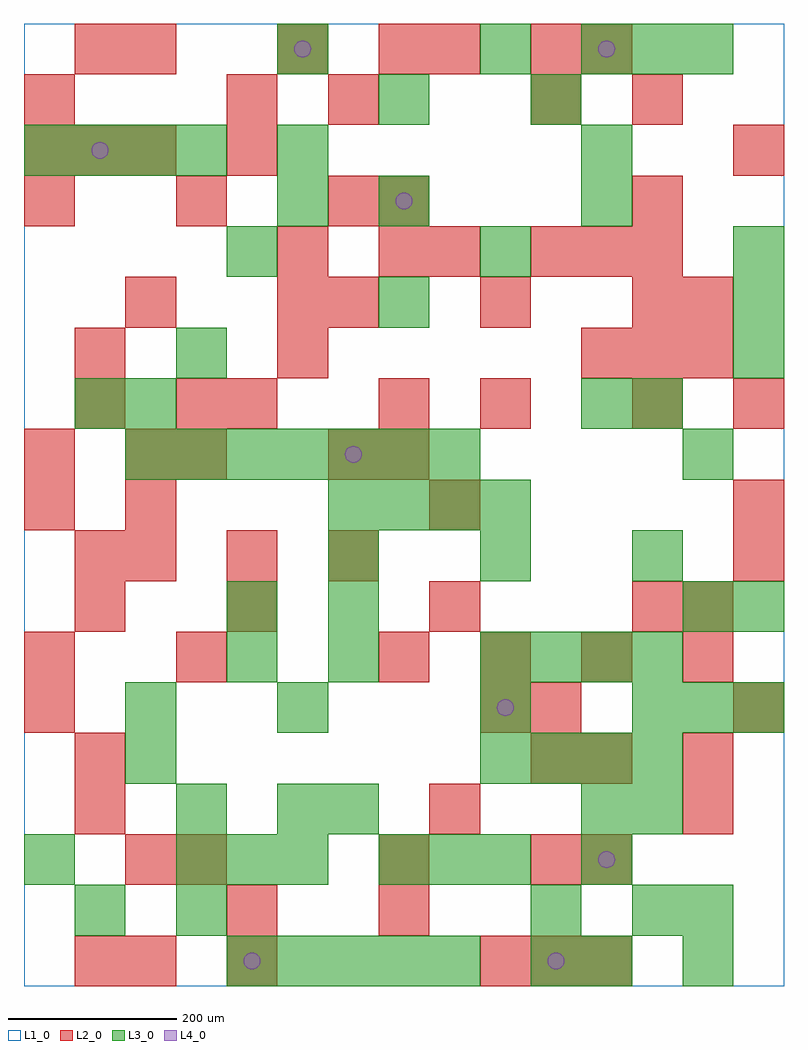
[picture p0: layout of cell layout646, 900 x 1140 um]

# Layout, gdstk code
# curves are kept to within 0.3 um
import gdstk
lib = gdstk.Library(unit=1e-6, precision=1e-09)
def R(c, l, rs):  # rectangles x0, y0, x1, y1
    for r in rs: c.add(gdstk.rectangle(r[:2], r[2:], *l))
def A(c, l, x, y, w, h, nx, ny, dx, dy):  # array of equal rectangles
    R(c, l, [(x+i*dx, y+j*dy, x+i*dx+w, y+j*dy+h) for i in range(nx) for j in range(ny)])
def P(c, l, *ps):  # polygons
    for p in ps: c.add(gdstk.Polygon(p, *l))
L1_0 = (1, 0)
L2_0 = (2, 0)
L3_0 = (3, 0)
L4_0 = (4, 0)

layout646 = lib.new_cell('layout646')
R(layout646, L1_0, [(0,0,900,1140)])
A(layout646, L2_0, 540, 0, 60, 60, 3, 1, 60, 0)
A(layout646, L2_0, 180, 120, 60, 60, 1, 3, 0, 240)
A(layout646, L2_0, 840, 300, 60, 60, 1, 3, 0, 180)
A(layout646, L2_0, 420, 360, 60, 60, 4, 1, 120, 0)
A(layout646, L2_0, 240, 420, 60, 60, 3, 1, 240, 0)
A(layout646, L2_0, 120, 480, 60, 60, 3, 1, 120, 0)
A(layout646, L2_0, 120, 540, 60, 60, 3, 1, 360, 0)
A(layout646, L2_0, 300, 720, 60, 60, 1, 3, 0, 60)
A(layout646, L2_0, 660, 720, 60, 60, 3, 1, 60, 0)
A(layout646, L2_0, 360, 780, 60, 60, 3, 1, 180, 0)
A(layout646, L2_0, 600, 840, 60, 60, 3, 1, 60, 0)
A(layout646, L2_0, 0, 900, 60, 60, 3, 1, 180, 0)
A(layout646, L2_0, 0, 960, 60, 60, 3, 1, 60, 0)
R(layout646, L2_0, [(60,0,120,60), (120,0,180,60), (240,0,300,60), (240,60,300,120), (420,60,480,120), (120,120,180,180), (420,120,480,180), (600,120,660,180), (660,120,720,180), (60,180,120,240), (480,180,540,240), (780,180,840,240), (60,240,120,300), (600,240,660,300), (660,240,720,300), (780,240,840,300), (0,300,60,360), (540,300,600,360), (600,300,660,360), (0,360,60,420), (60,420,120,480), (780,420,840,480), (60,480,120,540), (0,540,60,600), (0,600,60,660), (120,600,180,660), (360,600,420,660), (420,600,480,660), (60,660,120,720), (180,660,240,720), (240,660,300,720), (420,660,480,720), (540,660,600,720), (720,660,780,720), (60,720,120,780), (120,780,180,840), (780,780,840,840), (420,840,480,900), (480,840,540,900), (420,900,480,960), (720,900,780,960), (240,960,300,1020), (840,960,900,1020), (0,1020,60,1080), (240,1020,300,1080), (360,1020,420,1080), (600,1020,660,1080), (720,1020,780,1080), (60,1080,120,1140), (120,1080,180,1140), (300,1080,360,1140), (420,1080,480,1140), (480,1080,540,1140), (600,1080,660,1140), (660,1080,720,1140)])
A(layout646, L3_0, 240, 0, 60, 60, 5, 1, 60, 0)
A(layout646, L3_0, 180, 120, 60, 60, 3, 1, 60, 0)
A(layout646, L3_0, 420, 120, 60, 60, 3, 1, 60, 0)
A(layout646, L3_0, 540, 240, 60, 60, 4, 2, 60, 120)
A(layout646, L3_0, 720, 300, 60, 60, 3, 1, 60, 0)
A(layout646, L3_0, 360, 480, 60, 60, 3, 1, 180, 0)
A(layout646, L3_0, 360, 540, 60, 60, 4, 1, 60, 0)
A(layout646, L3_0, 120, 600, 60, 60, 7, 1, 60, 0)
A(layout646, L3_0, 420, 780, 60, 60, 1, 3, 0, 120)
A(layout646, L3_0, 240, 840, 60, 60, 3, 1, 300, 0)
A(layout646, L3_0, 0, 960, 60, 60, 4, 1, 60, 0)
A(layout646, L3_0, 660, 1080, 60, 60, 3, 1, 60, 0)
R(layout646, L3_0, [(600,0,660,60), (660,0,720,60), (780,0,840,60), (60,60,120,120), (180,60,240,120), (600,60,660,120), (720,60,780,120), (780,60,840,120), (0,120,60,180), (660,120,720,180), (180,180,240,240), (300,180,360,240), (360,180,420,240), (660,180,720,240), (720,180,780,240), (120,240,180,300), (120,300,180,360), (300,300,360,360), (540,300,600,360), (240,360,300,420), (360,360,420,420), (240,420,300,480), (360,420,420,480), (780,420,840,480), (840,420,900,480), (780,600,840,660), (60,660,120,720), (120,660,180,720), (660,660,720,720), (720,660,780,720), (180,720,240,780), (840,720,900,780), (840,780,900,840), (300,900,360,960), (660,900,720,960), (300,960,360,1020), (660,960,720,1020), (600,1020,660,1080), (300,1080,360,1140), (540,1080,600,1140)])
P(layout646, L4_0, [(100,990),(99.239,993.827),(97.071,997.071),(93.827,999.239),(90,1000),(86.173,999.239),(82.929,997.071),(80.761,993.827),(80,990),(80.761,986.173),(82.929,982.929),(86.173,980.761),(90,980),(93.827,980.761),(97.071,982.929),(99.239,986.173)],
  [(280,30),(279.239,33.827),(277.071,37.071),(273.827,39.239),(270,40),(266.173,39.239),(262.929,37.071),(260.761,33.827),(260,30),(260.761,26.173),(262.929,22.929),(266.173,20.761),(270,20),(273.827,20.761),(277.071,22.929),(279.239,26.173)],
  [(340,1110),(339.239,1113.827),(337.071,1117.071),(333.827,1119.239),(330,1120),(326.173,1119.239),(322.929,1117.071),(320.761,1113.827),(320,1110),(320.761,1106.173),(322.929,1102.929),(326.173,1100.761),(330,1100),(333.827,1100.761),(337.071,1102.929),(339.239,1106.173)],
  [(400,630),(399.239,633.827),(397.071,637.071),(393.827,639.239),(390,640),(386.173,639.239),(382.929,637.071),(380.761,633.827),(380,630),(380.761,626.173),(382.929,622.929),(386.173,620.761),(390,620),(393.827,620.761),(397.071,622.929),(399.239,626.173)],
  [(460,930),(459.239,933.827),(457.071,937.071),(453.827,939.239),(450,940),(446.173,939.239),(442.929,937.071),(440.761,933.827),(440,930),(440.761,926.173),(442.929,922.929),(446.173,920.761),(450,920),(453.827,920.761),(457.071,922.929),(459.239,926.173)],
  [(580,330),(579.239,333.827),(577.071,337.071),(573.827,339.239),(570,340),(566.173,339.239),(562.929,337.071),(560.761,333.827),(560,330),(560.761,326.173),(562.929,322.929),(566.173,320.761),(570,320),(573.827,320.761),(577.071,322.929),(579.239,326.173)],
  [(640,30),(639.239,33.827),(637.071,37.071),(633.827,39.239),(630,40),(626.173,39.239),(622.929,37.071),(620.761,33.827),(620,30),(620.761,26.173),(622.929,22.929),(626.173,20.761),(630,20),(633.827,20.761),(637.071,22.929),(639.239,26.173)],
  [(700,150),(699.239,153.827),(697.071,157.071),(693.827,159.239),(690,160),(686.173,159.239),(682.929,157.071),(680.761,153.827),(680,150),(680.761,146.173),(682.929,142.929),(686.173,140.761),(690,140),(693.827,140.761),(697.071,142.929),(699.239,146.173)],
  [(700,1110),(699.239,1113.827),(697.071,1117.071),(693.827,1119.239),(690,1120),(686.173,1119.239),(682.929,1117.071),(680.761,1113.827),(680,1110),(680.761,1106.173),(682.929,1102.929),(686.173,1100.761),(690,1100),(693.827,1100.761),(697.071,1102.929),(699.239,1106.173)])

lib.write_gds('layout646.gds')
